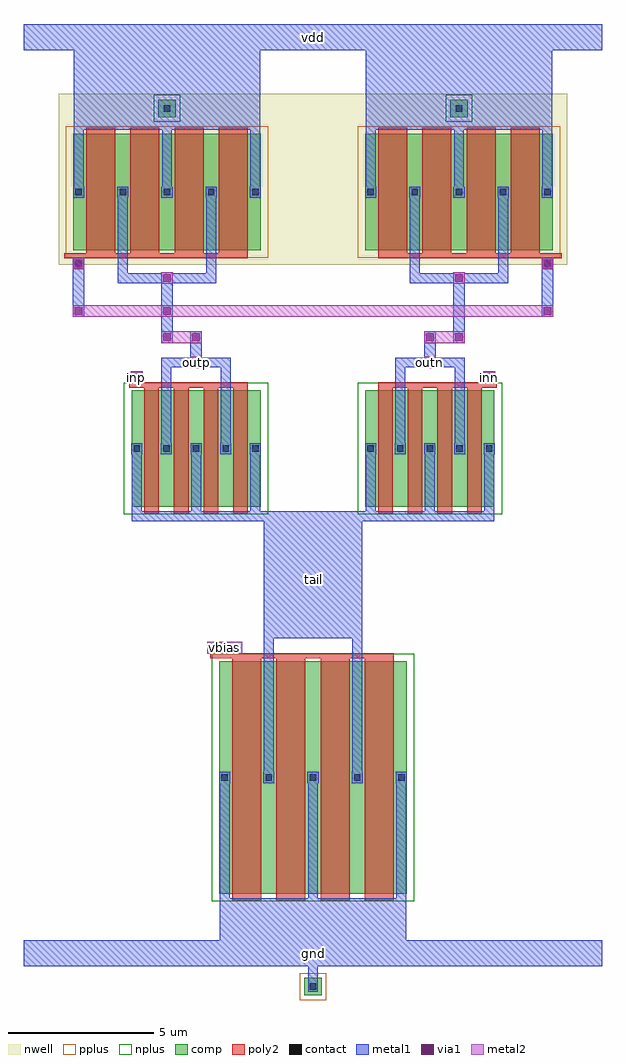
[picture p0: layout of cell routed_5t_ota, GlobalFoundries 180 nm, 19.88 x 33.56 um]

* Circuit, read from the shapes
.subckt routed_5t_ota gnd inn inp outn outp tail vbias vdd
XM1 outp inp tail gnd nfet_03v3 w=4u l=0.5u m=4
XM2 tail vbias gnd gnd nfet_03v3 w=8u l=1u m=4
XM3 outn inn tail gnd nfet_03v3 w=4u l=0.5u m=4
XM4 outp outp vdd vdd pfet_03v3 w=4u l=1u m=4
XM5 outn outp vdd vdd pfet_03v3 w=4u l=1u m=4
.ends

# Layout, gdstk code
import gdstk
lib = gdstk.Library(unit=1e-6, precision=1e-09)
def R(c, l, rs):  # rectangles x0, y0, x1, y1
    for r in rs: c.add(gdstk.rectangle(r[:2], r[2:], *l))
def A(c, l, x, y, w, h, nx, ny, dx, dy):  # array of equal rectangles
    R(c, l, [(x+i*dx, y+j*dy, x+i*dx+w, y+j*dy+h) for i in range(nx) for j in range(ny)])
nwell = (21, 0)
comp = (22, 0)
poly2 = (30, 0)
pplus = (31, 0)
nplus = (32, 0)
contact = (33, 0)
metal1 = (34, 0)
via1 = (35, 0)
metal2 = (36, 0)

routed_5t_ota = lib.new_cell('routed_5t_ota')
R(routed_5t_ota, nwell, [(-8.74,23.22,-1.3,29.1), (-8.74,23.22,8.74,29.1), (1.3,23.22,8.74,29.1)])
R(routed_5t_ota, comp, [(-0.3,-1.9,0.3,-1.3), (-3.22,1.59,3.22,9.59), (-6.24,14.9,-1.8,18.9), (1.8,14.9,6.24,18.9), (-8.24,23.72,-1.8,27.72), (1.8,23.72,8.24,27.72), (-5.32,28.3,-4.72,28.9), (4.72,28.3,5.32,28.9)])
A(routed_5t_ota, poly2, -2.78, 1.37, 1, 8.5, 4, 1, 1.52, 0)
A(routed_5t_ota, poly2, -5.8, 14.68, 0.5, 4.5, 4, 1, 1.02, 0)
A(routed_5t_ota, poly2, 2.24, 14.68, 0.5, 4.5, 4, 1, 1.02, 0)
A(routed_5t_ota, poly2, -7.8, 23.44, 1, 4.5, 4, 1, 1.52, 0)
A(routed_5t_ota, poly2, 2.24, 23.44, 1, 4.5, 4, 1, 1.52, 0)
R(routed_5t_ota, poly2, [(-3.54,9.69,2.78,9.87), (-3.23,9.69,-2.85,10.23), (-6.31,19,-2.24,19.18), (-6.25,19,-5.87,19.54), (2.24,19,6.31,19.18), (5.87,19,6.25,19.54), (-8.25,23.08,-7.87,23.62), (7.87,23.08,8.25,23.62), (-8.56,23.44,-2.24,23.62), (2.24,23.44,8.56,23.62)])
R(routed_5t_ota, pplus, [(-0.46,-2.06,0.46,-1.14), (-8.5,23.46,-1.54,27.98), (1.54,23.46,8.5,27.98)])
R(routed_5t_ota, nplus, [(-3.48,1.33,3.48,9.85), (-6.5,14.64,-1.54,19.16), (1.54,14.64,6.5,19.16), (-5.48,28.14,-4.56,29.06), (4.56,28.14,5.48,29.06)])
A(routed_5t_ota, contact, -3.15, 5.48, 0.22, 0.22, 5, 1, 1.52, 0)
A(routed_5t_ota, contact, -6.17, 16.79, 0.22, 0.22, 5, 1, 1.02, 0)
A(routed_5t_ota, contact, 1.87, 16.79, 0.22, 0.22, 5, 1, 1.02, 0)
A(routed_5t_ota, contact, -8.17, 25.61, 0.22, 0.22, 5, 1, 1.52, 0)
A(routed_5t_ota, contact, 1.87, 25.61, 0.22, 0.22, 5, 1, 1.52, 0)
R(routed_5t_ota, contact, [(-0.11,-1.71,0.11,-1.49), (-3.15,9.94,-2.93,10.16), (-6.17,19.25,-5.95,19.47), (5.95,19.25,6.17,19.47), (-8.17,23.15,-7.95,23.37), (7.95,23.15,8.17,23.37), (-5.13,28.49,-4.91,28.71), (4.91,28.49,5.13,28.71)])
A(routed_5t_ota, metal1, -3.21, 1.27, 0.34, 4.32, 3, 1, 3.04, 0)
A(routed_5t_ota, metal1, -3.23, 5.4, 0.38, 0.38, 5, 1, 1.52, 0)
A(routed_5t_ota, metal1, -6.23, 14.58, 0.34, 2.32, 3, 1, 2.04, 0)
A(routed_5t_ota, metal1, 1.81, 14.58, 0.34, 2.32, 3, 1, 2.04, 0)
A(routed_5t_ota, metal1, -6.25, 16.71, 0.38, 0.38, 5, 1, 1.02, 0)
A(routed_5t_ota, metal1, 1.79, 16.71, 0.38, 0.38, 5, 1, 1.02, 0)
A(routed_5t_ota, metal1, -8.25, 25.53, 0.38, 0.38, 5, 1, 1.52, 0)
A(routed_5t_ota, metal1, 1.79, 25.53, 0.38, 0.38, 5, 1, 1.52, 0)
A(routed_5t_ota, metal1, -8.23, 25.72, 0.34, 2.32, 3, 1, 3.04, 0)
A(routed_5t_ota, metal1, 1.81, 25.72, 0.34, 2.32, 3, 1, 3.04, 0)
R(routed_5t_ota, metal1, [(-0.17,-1.77,0.17,0), (-9.94,-0.9,9.94,0), (-0.2,-0.9,0.2,1.44), (-3.21,0,3.21,1.44), (-3.21,1.1,3.21,1.44), (-1.69,5.59,-1.35,10.55), (1.35,5.59,1.69,10.55), (-3.24,9.85,-2.84,10.25), (-3.23,9.86,-2.85,10.24), (-1.69,10.38,1.69,10.72), (-1.69,10.38,1.69,14.41), (-0.2,10.72,0.2,14.75), (-6.23,14.41,-1.81,14.75), (-2.21,14.41,0,14.75), (0,14.41,2.21,14.75), (1.81,14.41,6.23,14.75), (-5.21,16.9,-4.87,19.86), (-3.17,16.9,-2.83,19.86), (2.83,16.9,3.17,19.86), (4.87,16.9,5.21,19.86), (-6.26,19.16,-5.86,19.56), (5.86,19.16,6.26,19.56), (-6.25,19.17,-5.87,19.55), (5.87,19.17,6.25,19.55), (-4.22,19.66,-3.82,20.06), (3.82,19.66,4.22,20.06), (-5.21,19.69,-2.83,20.03), (2.83,19.69,5.21,20.03), (-4.22,19.86,-3.82,20.73), (3.82,19.86,4.22,20.73), (-5.22,20.53,-4.82,20.93), (-5.22,20.53,-4.82,20.93), (-4.22,20.53,-3.82,20.93), (3.82,20.53,4.22,20.93), (4.82,20.53,5.22,20.93), (-5.22,20.73,-4.82,22.76), (-5.22,20.73,-4.82,21.63), (4.82,20.73,5.22,22.76), (-8.26,21.43,-7.86,21.83), (-5.22,21.43,-4.82,21.83), (7.86,21.43,8.26,21.83), (-8.26,21.63,-7.86,23.26), (7.86,21.63,8.26,23.26), (-5.22,22.56,-4.82,22.96), (4.82,22.56,5.22,22.96), (-6.71,22.59,-3.33,22.93), (3.33,22.59,6.71,22.93), (-6.71,22.76,-6.37,25.72), (-3.67,22.76,-3.33,25.72), (3.33,22.76,3.67,25.72), (6.37,22.76,6.71,25.72), (-8.26,23.06,-7.86,23.46), (7.86,23.06,8.26,23.46), (-8.25,23.07,-7.87,23.45), (7.87,23.07,8.25,23.45), (-8.23,27.87,-1.81,28.21), (-8.23,27.87,-1.81,30.6), (-5.19,27.87,-4.85,28.77), (-2.36,27.87,-1.96,31.5), (1.81,27.87,8.23,28.21), (1.81,27.87,8.23,30.6), (1.96,27.87,2.36,31.5), (4.85,27.87,5.19,28.77), (-9.94,30.6,9.94,31.5)])
R(routed_5t_ota, via1, [(-3.17,9.92,-2.91,10.18), (-6.19,19.23,-5.93,19.49), (5.93,19.23,6.19,19.49), (-4.15,19.73,-3.89,19.99), (3.89,19.73,4.15,19.99), (-5.15,20.6,-4.89,20.86), (-5.15,20.6,-4.89,20.86), (-4.15,20.6,-3.89,20.86), (3.89,20.6,4.15,20.86), (4.89,20.6,5.15,20.86), (-8.19,21.5,-7.93,21.76), (-5.15,21.5,-4.89,21.76), (7.93,21.5,8.19,21.76), (-5.15,22.63,-4.89,22.89), (4.89,22.63,5.15,22.89), (-8.19,23.13,-7.93,23.39), (7.93,23.13,8.19,23.39)])
R(routed_5t_ota, metal2, [(-3.64,9.85,-2.44,10.25), (-3.24,9.85,-2.84,10.25), (-6.26,19.16,-5.86,19.56), (5.86,19.16,6.26,19.56), (-4.22,19.66,-3.82,20.06), (3.82,19.66,4.22,20.06), (-5.22,20.53,-3.82,20.93), (-5.22,20.53,-4.82,20.93), (-5.22,20.53,-4.82,20.93), (-4.22,20.53,-3.82,20.93), (3.82,20.53,5.22,20.93), (3.82,20.53,4.22,20.93), (4.82,20.53,5.22,20.93), (-8.26,21.43,-7.86,21.83), (-8.26,21.43,8.26,21.83), (-5.22,21.43,-4.82,21.83), (7.86,21.43,8.26,21.83), (-5.22,22.56,-4.82,22.96), (4.82,22.56,5.22,22.96), (-8.26,23.06,-7.86,23.46), (7.86,23.06,8.26,23.46)])
routed_5t_ota.add(gdstk.Label('outn', (4.02,19.86), layer=34, texttype=10))
routed_5t_ota.add(gdstk.Label('outp', (-4.02,19.86), layer=34, texttype=10))
routed_5t_ota.add(gdstk.Label('vbias', (-3.04,10.05), layer=34, texttype=10))
routed_5t_ota.add(gdstk.Label('inp', (-6.06,19.36), layer=34, texttype=10))
routed_5t_ota.add(gdstk.Label('inn', (6.06,19.36), layer=34, texttype=10))
routed_5t_ota.add(gdstk.Label('gnd', (0,-0.45), layer=34, texttype=10))
routed_5t_ota.add(gdstk.Label('vdd', (0,31.05), layer=34, texttype=10))
routed_5t_ota.add(gdstk.Label('tail', (0,12.395), layer=34, texttype=10))

lib.write_gds('routed_5t_ota.gds')
